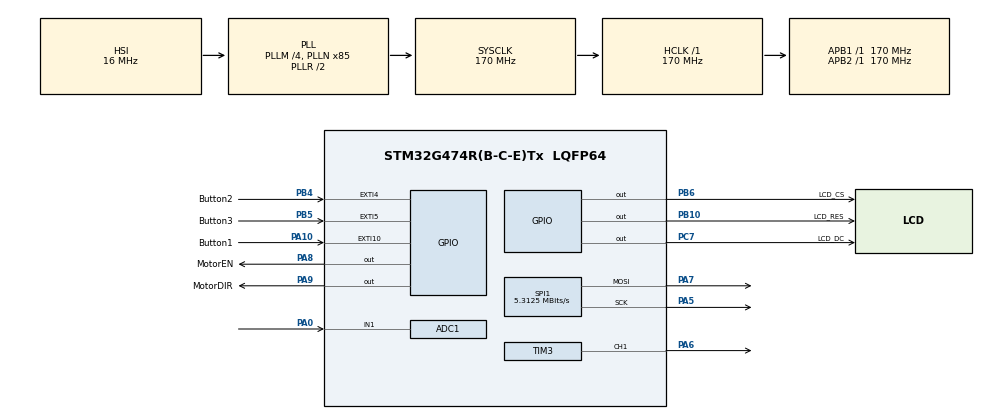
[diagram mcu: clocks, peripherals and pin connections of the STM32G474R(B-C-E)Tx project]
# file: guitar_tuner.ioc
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ADC1.Channel-1\#ChannelRegularConversion=ADC_CHANNEL_1
ADC1.ClockPrescaler=ADC_CLOCK_ASYNC_DIV4
ADC1.DMAContinuousRequests=ENABLE
ADC1.ExternalTrigConv=ADC_EXTERNALTRIG_T6_TRGO
ADC1.NbrOfConversionFlag=1
ADC1.OffsetNumber-1\#ChannelRegularConversion=ADC_OFFSET_NONE
ADC1.Overrun=ADC_OVR_DATA_OVERWRITTEN
ADC1.Rank-1\#ChannelRegularConversion=1
ADC1.SamplingTime-1\#ChannelRegularConversion=ADC_SAMPLETIME_47CYCLES_5
ADC1.master=1
Dma.ADC1.0.Direction=DMA_PERIPH_TO_MEMORY
Dma.ADC1.0.EventEnable=DISABLE
Dma.ADC1.0.Instance=DMA1_Channel1
Dma.ADC1.0.MemDataAlignment=DMA_MDATAALIGN_HALFWORD
Dma.ADC1.0.MemInc=DMA_MINC_ENABLE
Dma.ADC1.0.Mode=DMA_CIRCULAR
Dma.ADC1.0.PeriphDataAlignment=DMA_PDATAALIGN_HALFWORD
Dma.ADC1.0.PeriphInc=DMA_PINC_DISABLE
Dma.ADC1.0.Polarity=HAL_DMAMUX_REQ_GEN_RISING
Dma.ADC1.0.Priority=DMA_PRIORITY_LOW
Dma.ADC1.0.RequestNumber=1
Dma.ADC1.0.SignalID=NONE
Dma.ADC1.0.SyncEnable=DISABLE
Dma.ADC1.0.SyncPolarity=HAL_DMAMUX_SYNC_NO_EVENT
Dma.ADC1.0.SyncRequestNumber=1
Dma.ADC1.0.SyncSignalID=NONE
Dma.Request0=ADC1
Mcu.Family=STM32G4
Mcu.Name=STM32G474R(B-C-E)Tx
Mcu.Package=LQFP64
NUCLEO-G474RE.BUTTON=1
NUCLEO-G474RE.LD2=false
NUCLEO-G474RE.VCP=true
NVIC.DMA1_Channel1_IRQn=true\:0\:0\:false\:false\:true\:false\:true\:true
NVIC.EXTI15_10_IRQn=true\:0\:0\:false\:false\:true\:false\:true\:true
NVIC.EXTI4_IRQn=true\:0\:0\:false\:false\:true\:true\:true\:true
NVIC.EXTI9_5_IRQn=true\:0\:0\:false\:false\:true\:true\:true\:true
NVIC.PriorityGroup=NVIC_PRIORITYGROUP_4
NVIC.TIM3_IRQn=true\:0\:0\:false\:false\:true\:true\:true\:true
PA0.Mode=IN1-Single-Ended
PA0.Signal=ADC1_IN1
PA10.GPIO_Label=Button1
PA10.GPIO_ModeDefaultEXTI=GPIO_MODE_IT_FALLING
PA10.GPIO_PuPd=GPIO_PULLUP
PA10.Signal=GPXTI10
PA13.GPIO_Label=T_SWDIO
PA13.Mode=Serial_Wire
PA13.Signal=SYS_JTMS-SWDIO
PA14.GPIO_Label=T_SWCLK
PA14.Mode=Serial_Wire
PA14.Signal=SYS_JTCK-SWCLK
PA2.Signal=LPUART1_TX
PA3.Signal=LPUART1_RX
PA5.Mode=TX_Only_Simplex_Unidirect_Master
PA5.Signal=SPI1_SCK
PA6.Signal=S_TIM3_CH1
PA7.Mode=TX_Only_Simplex_Unidirect_Master
PA7.Signal=SPI1_MOSI
PA8.GPIO_Label=MotorEN
PA8.PinState=GPIO_PIN_SET
PA8.Signal=GPIO_Output
PA9.GPIO_Label=MotorDIR
PA9.Signal=GPIO_Output
PB10.GPIO_Label=LCD_RES
PB10.PinState=GPIO_PIN_SET
PB10.Signal=GPIO_Output
PB3.GPIO_Label=T_SWO
PB3.Signal=SYS_JTDO-SWO
PB4.GPIO_Label=Button2
PB4.GPIO_ModeDefaultEXTI=GPIO_MODE_IT_FALLING
PB4.GPIO_PuPd=GPIO_PULLUP
PB4.Signal=GPXTI4
PB5.GPIO_Label=Button3
PB5.GPIO_ModeDefaultEXTI=GPIO_MODE_IT_FALLING
PB5.GPIO_PuPd=GPIO_PULLUP
PB5.Signal=GPXTI5
PB6.GPIO_Label=LCD_CS
PB6.PinState=GPIO_PIN_SET
PB6.Signal=GPIO_Output
PC14-OSC32_IN.GPIO_Label=RCC_OSC32_IN
PC14-OSC32_IN.Signal=RCC_OSC32_IN
PC15-OSC32_OUT.GPIO_Label=RCC_OSC32_OUT
PC15-OSC32_OUT.Signal=RCC_OSC32_OUT
PC7.GPIO_Label=LCD_DC
PC7.Signal=GPIO_Output
PF0-OSC_IN.GPIO_Label=RCC_OSC_IN
PF0-OSC_IN.Signal=RCC_OSC_IN
PF1-OSC_OUT.GPIO_Label=RCC_OSC_OUT
PF1-OSC_OUT.Signal=RCC_OSC_OUT
ProjectManager.HeapSize=0x200
ProjectManager.StackSize=0x400
ProjectManager.TargetToolchain=STM32CubeIDE
RCC.ADC12Freq_Value=170000000
RCC.ADC345Freq_Value=170000000
RCC.AHBFreq_Value=170000000
RCC.APB1Freq_Value=170000000
RCC.APB1TimFreq_Value=170000000
RCC.APB2Freq_Value=170000000
RCC.APB2TimFreq_Value=170000000
RCC.CortexFreq_Value=170000000
RCC.EXTERNAL_CLOCK_VALUE=12288000
RCC.HCLKFreq_Value=170000000
RCC.HSE_VALUE=24000000
RCC.HSI48_VALUE=48000000
RCC.HSI_VALUE=16000000
RCC.LSE_VALUE=32768
RCC.PLLM=RCC_PLLM_DIV4
RCC.PLLN=85
RCC.RTCClockSelection=RCC_RTCCLKSOURCE_LSE
RCC.SYSCLKFreq_VALUE=170000000
RCC.SYSCLKSource=RCC_SYSCLKSOURCE_PLLCLK
RCC.USBFreq_Value=170000000
RCC.VCOOutputFreq_Value=340000000
SH.S_TIM3_CH1.0=TIM3_CH1,PWM Generation1 CH1
SPI1.BaudRatePrescaler=SPI_BAUDRATEPRESCALER_32
SPI1.CalculateBaudRate=5.3125 MBits/s
SPI1.DataSize=SPI_DATASIZE_8BIT
SPI1.Direction=SPI_DIRECTION_2LINES
SPI1.Mode=SPI_MODE_MASTER
SPI1.NSSPMode=SPI_NSS_PULSE_DISABLE
SPI1.VirtualType=VM_MASTER
TIM3.AutoReloadPreload=TIM_AUTORELOAD_PRELOAD_ENABLE
TIM3.Channel-PWM\ Generation1\ CH1=TIM_CHANNEL_1
TIM3.PeriodNoDither=2499
TIM3.Prescaler=169
TIM3.PulseNoDither_1=625
TIM6.PeriodNoDither=624
TIM6.Prescaler=33
TIM6.TIM_MasterOutputTrigger=TIM_TRGO_UPDATE
VP_NUCLEO-G474RE_VS_BSP_COMMON.Mode=COMMON
VP_SYS_VS_DBSignals.Mode=DisableDeadBatterySignals
VP_TIM3_VS_ClockSourceINT.Mode=Internal
VP_TIM6_VS_ClockSourceINT.Mode=Enable_Timer
board=NUCLEO-G474RE

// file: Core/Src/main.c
/* USER CODE BEGIN Header */
/**
  ******************************************************************************
  * @file           : main.c
  * @brief          : Main program body
  ******************************************************************************
  * @attention
  *
  * Copyright (c) 2026 STMicroelectronics.
  * All rights reserved.
  *
  * This software is licensed under terms that can be found in the LICENSE file
  * in the root directory of this software component.
  * If no LICENSE file comes with this software, it is provided AS-IS.
  *
  ******************************************************************************
  */
/* USER CODE END Header */
#include "main.h"
#include "adc.h"
#include "dma.h"
#include "spi.h"
#include "tim.h"
#include "gpio.h"

/* USER CODE BEGIN Includes */
#include "audio_processing.h"
#include "button.h"
#include "lcd.h"
#include "microphone.h"
#include "motor_cntrl.h"
#include "note.h"
#include "pitch.h"

#include <stdbool.h>
#include <string.h>
#include <stdio.h>
#include <math.h>
/* USER CODE END Includes */

/* USER CODE BEGIN PTD */
typedef enum {
  STATE_TUNING_SELECT,
  STATE_LISTEN,
  STATE_ADJUST,
  STATE_SETTLE,
  STATE_NEXT_STRING_WAIT,
  STATE_DONE
} state_t;

typedef enum {
  UI_DIRTY_NONE = 0U,
  UI_DIRTY_FULL = (1UL << 0),
  UI_DIRTY_TUNING = (1UL << 1),
  UI_DIRTY_STRING = (1UL << 2),
  UI_DIRTY_PITCH = (1UL << 3)
} ui_dirty_t;

/* USER CODE END PTD */

/* USER CODE BEGIN PD */
#define FREQ_ALLOWED_DELTA_HZ 1.0f

#define MOTOR_SETTLE_TIME_MS 150U
#define NEXT_STRING_DELAY_MS 750U
#define TUNING_TOLERANCE_CENTS 5.0f

#define MOTOR_DIR_TIGHTEN 0U
#define MOTOR_DIR_LOOSEN 1U

#define NOTE_ROW_GAP_PX 10U
#define UI_CENTER_MARGIN_PX 8U
#define SHARP_OVERLAP_PX 2U
#define SHARP_LOWER_PX 6U

/* USER CODE END PD */

COM_InitTypeDef BspCOMInit;

/* USER CODE BEGIN PV */
static uint8_t tuning_idx = 0U;
static tuning_t chosen_tuning;
static uint8_t current_string = 6U;
static uint32_t ui_state = UI_DIRTY_FULL;
static uint32_t last_ui_update = 0U;

static uint32_t motor_settle_start = 0U;
static uint32_t next_string_start = 0U;

/* USER CODE END PV */

void SystemClock_Config(void);
/* USER CODE BEGIN PFP */
static uint32_t choose_motor_steps(float absolute_error_cents);
static float frequency_error_cents(float measured_hz, float target_hz);
static bool ui_draw_tuning_selection(uint16_t selected_tuning, bool full_redraw);
static bool ui_draw_listen_adjust_screen(uint8_t string, bool full_redraw);
static bool ui_draw_done_screen(void);
static uint8_t string_to_array_index(uint8_t string);
static uint16_t ui_text_width(const char *text, const lcd_font_t *font);
static void ui_note_letter(uint8_t array_index, char *out);
static uint16_t ui_tuning_color_for_string(uint8_t string, uint8_t current_string);
static void ui_layout_tuning_notes(void);
static bool ui_draw_tuning_note(uint8_t array_index, uint8_t current_string);
static uint16_t ui_centered_x(uint16_t text_width);
static uint16_t ui_glyph_advance(const lcd_font_t *font, uint8_t codepoint);
static uint16_t ui_note_name_width(const char *text, const lcd_font_t *font, bool use_tiny_sharp);
static bool ui_draw_note_name(uint16_t x, uint16_t y, const char *text, const lcd_font_t *font, uint16_t color, bool use_tiny_sharp);

/* USER CODE END PFP */

int main(void)
{

  /* USER CODE BEGIN 1 */
  state_t state = STATE_TUNING_SELECT;
  audio_processing_result_t audio_result = {0};

  /* USER CODE END 1 */

  /* MCU Configuration--------------------------------------------------------*/

  /* Reset of all peripherals, Initializes the Flash interface and the Systick. */
  HAL_Init();

  /* Configure the system clock */
  SystemClock_Config();

  /* Initialize all configured peripherals */
  MX_GPIO_Init();
  MX_DMA_Init();
  MX_TIM6_Init();
  MX_TIM3_Init();
  MX_SPI1_Init();
  MX_ADC1_Init();
  /* USER CODE BEGIN 2 */
  if (!lcd_init()) {
    Error_Handler();
  }

  if (!lcd_clear()) {
    Error_Handler();
  }

  if(!microphone_init(&hadc1)) {
    Error_Handler();
  }

  if (!fft_init()) {
    Error_Handler();
  }

  motor_cntrl_init();

  audio_processing_reset();

  /* USER CODE END 2 */

  /* Initialize USER push-button, will be used to trigger an interrupt each time it's pressed.*/
  BSP_PB_Init(BUTTON_USER, BUTTON_MODE_EXTI);

  /* Initialize COM1 port (115200, 8 bits (7-bit data + 1 stop bit), no parity */
  BspCOMInit.BaudRate   = 115200;
  BspCOMInit.WordLength = COM_WORDLENGTH_8B;
  BspCOMInit.StopBits   = COM_STOPBITS_1;
  BspCOMInit.Parity     = COM_PARITY_NONE;
  BspCOMInit.HwFlowCtl  = COM_HWCONTROL_NONE;
  if (BSP_COM_Init(COM1, &BspCOMInit) != BSP_ERROR_NONE)
  {
    Error_Handler();
  }

  /* Infinite loop */
  /* USER CODE BEGIN WHILE */

  while (1){
    switch (state){
      case STATE_TUNING_SELECT:
        if (b2_pressed_debounced()){
          if (tuning_idx == 0U) tuning_idx = NUM_TUNINGS - 1U;
          else tuning_idx--;
          ui_state |= UI_DIRTY_TUNING;
        }
        else if (b3_pressed_debounced()){
          tuning_idx = (tuning_idx + 1U) % NUM_TUNINGS;
          ui_state |= UI_DIRTY_TUNING;
        }
        else if (b1_pressed_debounced()){
          chosen_tuning = tunings[tuning_idx];
          current_string = 6U;
          audio_processing_reset();
          microphone_start();
          state = STATE_LISTEN;
          ui_state = UI_DIRTY_FULL;
        }
        break;

      case STATE_LISTEN:
    	  if (audio_process_pending(current_string, &audio_result)) {
			  if (audio_result.frequency_valid) printf("Frequency: %.2f Hz\r\n", audio_result.frequency_hz);
			  if (audio_result.stable_frequency) {
				  printf("string %u detected: %.2f Hz\r\n", (unsigned int)current_string, audio_result.frequency_hz);

				  float error_cents = frequency_error_cents(audio_result.frequency_hz, chosen_tuning.notes[string_to_array_index(current_string)].frequency);

				  //if frequency is close enough to the target, move to the next string
				  if (fabsf(error_cents) <= TUNING_TOLERANCE_CENTS) {
				      printf("String %u in tune: %.2f Hz\r\n",
				             (unsigned int)current_string,
				             audio_result.frequency_hz);

				      microphone_stop();
				      audio_processing_reset();

				      if (current_string <= 1U) {
				          state = STATE_DONE;
				          ui_state = UI_DIRTY_FULL;
				      }
				      else {
				          /*
				           * Keep current_string unchanged during the delay so the display
				           * continues showing the string that was just completed.
				           */
				          next_string_start = HAL_GetTick();
				          state = STATE_NEXT_STRING_WAIT;
				      }
				  }
				  //else record the current frequency and then adjust based on it
				  else{
					  printf("String %u out of tune. Cents of error: %.2f\r\n", (unsigned int)current_string, error_cents);
					  uint8_t direction = (error_cents < 0.0f) ? MOTOR_DIR_TIGHTEN : MOTOR_DIR_LOOSEN;
					  microphone_stop();
					  audio_processing_reset();
					  uint32_t steps = choose_motor_steps(fabsf(error_cents));
					  if(motor_cntrl_move_steps(direction, steps)){
						  state = STATE_ADJUST;
					  }
					  else{
						  //failed to start motor so resume listening
						  microphone_start();
					  }
					  //UI may or may not change (decide later)
				  }
			  }
        }
        break;

      case STATE_ADJUST:
        if(!motor_cntrl_is_busy()){
        	motor_settle_start = HAL_GetTick();
        	state = STATE_SETTLE;
        }
        break;

      case STATE_SETTLE:
    	  if((HAL_GetTick() - motor_settle_start) >= MOTOR_SETTLE_TIME_MS){
    		  audio_processing_reset();
    		  microphone_start();
    		  state = STATE_LISTEN;
    	  }
    	  break;

      case STATE_NEXT_STRING_WAIT:
          if ((HAL_GetTick() - next_string_start) >= NEXT_STRING_DELAY_MS) {
              current_string--;

              audio_processing_reset();
              microphone_start();

              ui_state |= UI_DIRTY_STRING;
              state = STATE_LISTEN;
          }
          break;

      case STATE_DONE:
        if (b1_pressed_debounced()) {
          microphone_stop();
          microphone_discard_pending();
          state = STATE_TUNING_SELECT;
          ui_state = UI_DIRTY_FULL;
        }
        break;

      default:
        microphone_stop();
        state = STATE_TUNING_SELECT;
        ui_state = UI_DIRTY_FULL;
        break;
    }

    if (ui_state != UI_DIRTY_NONE) {
      bool draw_ok = true;

      switch (state) {
        case STATE_TUNING_SELECT:
          draw_ok = ui_draw_tuning_selection(
              tuning_idx,
              (ui_state & UI_DIRTY_FULL) != 0U);
          break;

        case STATE_LISTEN:
            //if no new mic data and last
            //if(!microphone_get_ready_flags() )
          if ((ui_state & (UI_DIRTY_FULL | UI_DIRTY_STRING)) != 0U) {
            draw_ok = ui_draw_listen_adjust_screen(
                current_string,
                (ui_state & UI_DIRTY_FULL) != 0U);
            last_ui_update = HAL_GetTick();
          }
          break;

        case STATE_DONE:
          if ((ui_state & UI_DIRTY_FULL) != 0U) {
            draw_ok = ui_draw_done_screen();
          }
          break;

        case STATE_ADJUST:
        default:
          break;
      }

      if (draw_ok) {
        ui_state = UI_DIRTY_NONE;
      }
      else {
        printf("UI draw failed\r\n");
      }
    }

    /* SysTick wakes the CPU every millisecond for HAL_GetTick(). */
    __WFI();

    /* USER CODE END WHILE */

  }
}

void SystemClock_Config(void)
{
  RCC_OscInitTypeDef RCC_OscInitStruct = {0};
  RCC_ClkInitTypeDef RCC_ClkInitStruct = {0};

  /** Configure the main internal regulator output voltage
  */
  HAL_PWREx_ControlVoltageScaling(PWR_REGULATOR_VOLTAGE_SCALE1_BOOST);

  /** Initializes the RCC Oscillators according to the specified parameters
  * in the RCC_OscInitTypeDef structure.
  */
  RCC_OscInitStruct.OscillatorType = RCC_OSCILLATORTYPE_HSI;
  RCC_OscInitStruct.HSIState = RCC_HSI_ON;
  RCC_OscInitStruct.HSICalibrationValue = RCC_HSICALIBRATION_DEFAULT;
  RCC_OscInitStruct.PLL.PLLState = RCC_PLL_ON;
  RCC_OscInitStruct.PLL.PLLSource = RCC_PLLSOURCE_HSI;
  RCC_OscInitStruct.PLL.PLLM = RCC_PLLM_DIV4;
  RCC_OscInitStruct.PLL.PLLN = 85;
  RCC_OscInitStruct.PLL.PLLP = RCC_PLLP_DIV2;
  RCC_OscInitStruct.PLL.PLLQ = RCC_PLLQ_DIV2;
  RCC_OscInitStruct.PLL.PLLR = RCC_PLLR_DIV2;
  if (HAL_RCC_OscConfig(&RCC_OscInitStruct) != HAL_OK)
  {
    Error_Handler();
  }

  /** Initializes the CPU, AHB and APB buses clocks
  */
  RCC_ClkInitStruct.ClockType = RCC_CLOCKTYPE_HCLK|RCC_CLOCKTYPE_SYSCLK
                              |RCC_CLOCKTYPE_PCLK1|RCC_CLOCKTYPE_PCLK2;
  RCC_ClkInitStruct.SYSCLKSource = RCC_SYSCLKSOURCE_PLLCLK;
  RCC_ClkInitStruct.AHBCLKDivider = RCC_SYSCLK_DIV1;
  RCC_ClkInitStruct.APB1CLKDivider = RCC_HCLK_DIV1;
  RCC_ClkInitStruct.APB2CLKDivider = RCC_HCLK_DIV1;

  if (HAL_RCC_ClockConfig(&RCC_ClkInitStruct, FLASH_LATENCY_4) != HAL_OK)
  {
    Error_Handler();
  }
}

/* USER CODE BEGIN 4 */
//temp adjustment steps for now
static uint32_t choose_motor_steps(float absolute_error_cents){
  if (absolute_error_cents > 5.0f) {
    return 10U + (uint32_t)(absolute_error_cents*4.2);
  }

  return 10U;
}

static float frequency_error_cents(float measured_hz, float target_hz){
  return 1200.0f * log2f(measured_hz / target_hz);
}

static bool ui_draw_tuning_selection(uint16_t selected_tuning, bool full_redraw){
	if (selected_tuning >= NUM_TUNINGS) return false;

	if (full_redraw) {
		if (!lcd_clear()) return false;
		if (!lcd_draw_text(10U, 10U, "<", &Atkinson32,
						   LCD_COLOR_WHITE, LCD_BG_COLOR)) return false;
		if (!lcd_draw_text(65U, 10U, "Select Tuning", &Atkinson32,
						   LCD_COLOR_WHITE, LCD_BG_COLOR)) return false;
		if (!lcd_draw_text(LCD_WIDTH - 20U, 10U, ">", &Atkinson32,
						   LCD_COLOR_WHITE, LCD_BG_COLOR)) return false;
	}

	/* Clear the full row width: a previous, wider tuning's text can extend past a narrower box. */
	if (!lcd_fill_rect(0U, 50U, LCD_WIDTH, LCD_HEIGHT - 60U, LCD_BG_COLOR)) return false;

	uint16_t tuning_width = ui_text_width(tunings[selected_tuning].tuning_name, &Atkinson32);

	if (!lcd_draw_text(ui_centered_x(tuning_width), 70U,
					 tunings[selected_tuning].tuning_name,
					 &Atkinson32, LCD_COLOR_WHITE, LCD_BG_COLOR)) return false;

	const note_t *notes = tunings[selected_tuning].notes;
	uint16_t note_widths[6];
	uint16_t total_width = 0U;

	for (uint8_t i = 0U; i < 6U; i++) {
		note_widths[i] = ui_note_name_width(notes[i].note_name, &Atkinson28, true);
		total_width += note_widths[i];
		if (i < 5U) total_width += NOTE_ROW_GAP_PX;
	}

	uint16_t cursor_x = ui_centered_x(total_width);

	for (uint8_t i = 0U; i < 6U; i++) {
		if (!ui_draw_note_name(cursor_x, 110U, notes[i].note_name, &Atkinson28, LCD_COLOR_WHITE, true)) return false;
		cursor_x += note_widths[i] + NOTE_ROW_GAP_PX;
	}

	return true;
}

static bool ui_draw_listen_adjust_screen(uint8_t string, bool full_redraw){
	if ((string == 0U) || (string > 6U)) return false;

	uint8_t array_index = string_to_array_index(string);
	const note_t *note = &chosen_tuning.notes[array_index];
	char string_text[12];
	char frequency_text[16];
	char note_letter[2] = {0};
	char octave[2] = {0};
	size_t note_name_length = strlen(note->note_name);

	if ((note_name_length < 2U) || (note_name_length > 3U)) return false;

	/* A 3-char note name is letter + '#' + octave digit, e.g. "D#2". */
	bool has_sharp = (note_name_length == 3U);

	note_letter[0] = note->note_name[0];
	octave[0] = note->note_name[note_name_length - 1U];

	if (snprintf(string_text, sizeof(string_text), "String %u",
			   (unsigned int)string) < 0) return false;
	if (snprintf(frequency_text, sizeof(frequency_text),
			   "%.2f Hz", note->frequency) < 0) return false;

	if (full_redraw) {
		if (!lcd_clear()) return false;

		ui_layout_tuning_notes();

		for (uint8_t note_index = 0U; note_index < 6U; note_index++) {
			if (!ui_draw_tuning_note(note_index, string)) return false;
		}
	}
	else {
		if (!lcd_fill_rect(0U, 0U, LCD_WIDTH, 180U, LCD_BG_COLOR)) return false;

		/* Only the string that just finished and the newly current string change color. */
		if (string < 6U) {
			if (!ui_draw_tuning_note(string_to_array_index(string + 1U), string)) return false;
		}
		if (!ui_draw_tuning_note(array_index, string)) return false;
	}

	uint16_t string_width = ui_text_width(string_text, &Atkinson32);
	uint16_t frequency_width = ui_text_width(frequency_text, &Atkinson32);
	uint16_t note_width = ui_text_width(note_letter, &Atkinson72);

	/* Sharp and octave share the same font/baseline, so measure and draw them as one string. */
	char accidental_text[3] = {0};
	if (has_sharp) accidental_text[0] = '#';
	accidental_text[has_sharp ? 1U : 0U] = octave[0];

	uint16_t accidental_width = ui_text_width(accidental_text, &Atkinson32);
	uint16_t note_x = (LCD_WIDTH - note_width - accidental_width) / 2U;
	uint16_t note_y = 38U;
	uint16_t accidental_y = note_y + Atkinson72.ascent - Atkinson32.ascent;

	if (!lcd_draw_text((LCD_WIDTH - string_width) / 2U, 4U,
					 string_text, &Atkinson32,
					 LCD_COLOR_WHITE, LCD_BG_COLOR)) return false;
	if (!lcd_draw_text(note_x, note_y, note_letter, &Atkinson72,
					 LCD_COLOR_WHITE, LCD_BG_COLOR)) return false;
	if (!lcd_draw_text(note_x + note_width, accidental_y, accidental_text,
					 &Atkinson32, LCD_COLOR_WHITE, LCD_BG_COLOR)) return false;

	return lcd_draw_text((LCD_WIDTH - frequency_width) / 2U, 128U,
					   frequency_text, &Atkinson32,
					   LCD_COLOR_WHITE, LCD_BG_COLOR);
}

static bool ui_draw_done_screen(void){
	if (!lcd_clear()) return false;

	uint16_t title_width = ui_text_width("Tuning Complete", &Atkinson32);
	uint16_t prompt_width = ui_text_width("Press Select", &Atkinson32);

	if (!lcd_draw_text((LCD_WIDTH - title_width) / 2U, 70U,
					 "Tuning Complete", &Atkinson32,
					 LCD_COLOR_GREEN, LCD_BG_COLOR)) return false;

	return lcd_draw_text((LCD_WIDTH - prompt_width) / 2U, 120U,
					   "Press Select", &Atkinson32,
					   LCD_COLOR_WHITE, LCD_BG_COLOR);
}

static uint8_t string_to_array_index(uint8_t string){
	return 6U - string;
}

/* x position of each note's colored letter in the listen screen's note row, indexed by array_index. */
static uint16_t tuning_note_x[6];

/* Copies a note's letter (name minus trailing octave digit) into out, which must hold >= 3 bytes. */
static void ui_note_letter(uint8_t array_index, char *out){
	const char *note_name = chosen_tuning.notes[array_index].note_name;
	size_t len = strlen(note_name);

	memcpy(out, note_name, len - 1U);
	out[len - 1U] = '\0';
}

static uint16_t ui_tuning_color_for_string(uint8_t string, uint8_t current_string){
	if (string > current_string) return LCD_COLOR_GREEN;
	if (string == current_string) return LCD_COLOR_WHITE;
	return LCD_COLOR_RED;
}

static void ui_layout_tuning_notes(void){
	char letters[6][3];
	uint16_t widths[6];
	uint16_t total_width = 0U;

	for (uint8_t i = 0U; i < 6U; i++) {
		ui_note_letter(i, letters[i]);
		widths[i] = ui_note_name_width(letters[i], &Atkinson32, false);
		total_width += widths[i];
		if (i < 5U) total_width += NOTE_ROW_GAP_PX;
	}

	uint16_t cursor_x = ui_centered_x(total_width);

	for (uint8_t i = 0U; i < 6U; i++) {
		tuning_note_x[i] = cursor_x;
		cursor_x += widths[i] + NOTE_ROW_GAP_PX;
	}
}

static bool ui_draw_tuning_note(uint8_t array_index, uint8_t current_string){
	char letter[3];
	uint8_t string = 6U - array_index;
	uint16_t color = ui_tuning_color_for_string(string, current_string);

	ui_note_letter(array_index, letter);

	return ui_draw_note_name(tuning_note_x[array_index], 180U, letter, &Atkinson32, color, false);
}

static uint16_t ui_text_width(const char *text, const lcd_font_t *font){
	uint16_t width = 0U;
	if ((text == NULL) || (font == NULL)) return 0U;

	for(; *text != '\0'; text++){
		width += ui_glyph_advance(font, (uint8_t)*text);
	}

	return width;
}

/* Returns 0 if the text fits centered normally, else clamps to a small margin instead of underflowing. */
static uint16_t ui_centered_x(uint16_t text_width){
	return (text_width + (2U * UI_CENTER_MARGIN_PX) < LCD_WIDTH)
		? (LCD_WIDTH - text_width) / 2U
		: UI_CENTER_MARGIN_PX;
}

static uint16_t ui_glyph_advance(const lcd_font_t *font, uint8_t codepoint){
	for (uint16_t glyph_idx = 0U; glyph_idx < font->glyph_count; glyph_idx++){
		if (font->glyphs[glyph_idx].codepoint == codepoint){
			return font->glyphs[glyph_idx].advance;
		}
	}

	return 0U;
}

/* '#' reserves less cursor space than its glyph width so it overlaps back into the preceding letter. */
static uint16_t ui_note_char_advance(const lcd_font_t *font, char c, bool use_tiny_sharp){
	if (use_tiny_sharp && (c == '#')){
		uint16_t advance = ui_glyph_advance(&Atkinson15, (uint8_t)c);
		return (advance > SHARP_OVERLAP_PX) ? (advance - SHARP_OVERLAP_PX) : 0U;
	}

	return ui_glyph_advance(font, (uint8_t)c);
}

static uint16_t ui_note_name_width(const char *text, const lcd_font_t *font, bool use_tiny_sharp){
	uint16_t width = 0U;
	if ((text == NULL) || (font == NULL)) return 0U;

	for (; *text != '\0'; text++){
		width += ui_note_char_advance(font, *text, use_tiny_sharp);
	}

	return width;
}

static bool ui_draw_note_name(uint16_t x, uint16_t y, const char *text, const lcd_font_t *font, uint16_t color, bool use_tiny_sharp){
	uint16_t cursor_x = x;
	if ((text == NULL) || (font == NULL)) return false;

	for (; *text != '\0'; text++){
		if (use_tiny_sharp && (*text == '#')) {
			uint16_t sharp_y = y + font->ascent - Atkinson15.ascent + SHARP_LOWER_PX;
			uint16_t sharp_x = (cursor_x > SHARP_OVERLAP_PX) ? (cursor_x - SHARP_OVERLAP_PX) : 0U;

			if (!lcd_draw_codepoint(sharp_x, sharp_y, (uint8_t)*text, &Atkinson15, color, LCD_BG_COLOR)) return false;
		}
		else {
			if (!lcd_draw_codepoint(cursor_x, y, (uint8_t)*text, font, color, LCD_BG_COLOR)) return false;
		}
		cursor_x += ui_note_char_advance(font, *text, use_tiny_sharp);
	}

	return true;
}

/* USER CODE END 4 */

void Error_Handler(void)
{
  __disable_irq();
  while (1)
  {
  }
}
